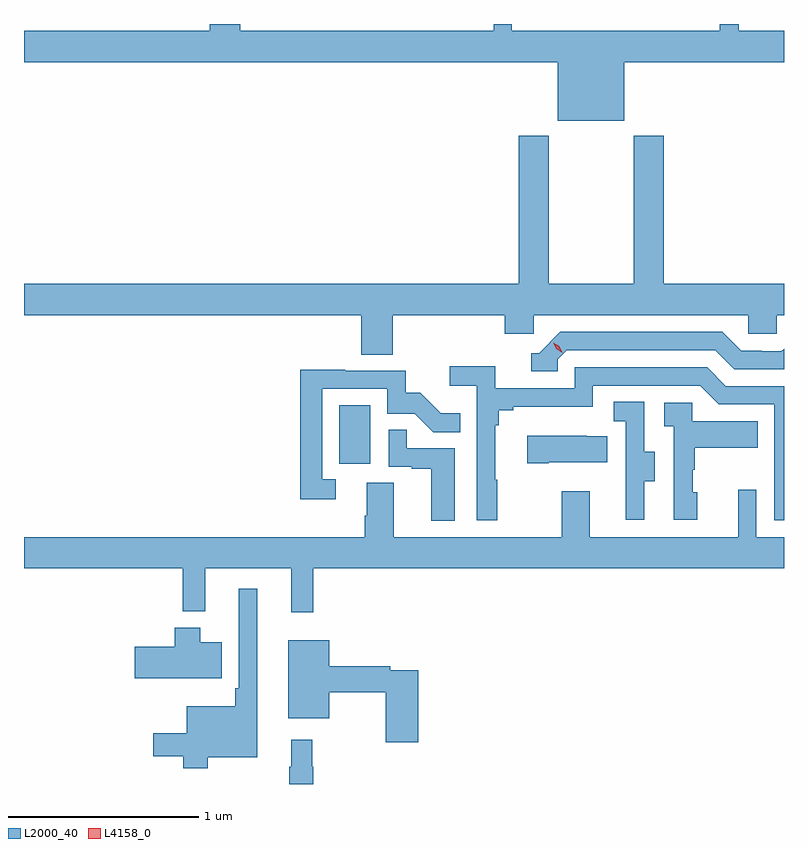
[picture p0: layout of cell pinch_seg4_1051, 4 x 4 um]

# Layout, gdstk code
import gdstk
lib = gdstk.Library(unit=1e-6, precision=1e-09)
def R(c, l, rs):  # rectangles x0, y0, x1, y1
    for r in rs: c.add(gdstk.rectangle(r[:2], r[2:], *l))
def P(c, l, *ps):  # polygons
    for p in ps: c.add(gdstk.Polygon(p, *l))
L2000_40 = (2000, 40)
L4158_0 = (4158, 0)

pinch_seg4_1051 = lib.new_cell('pinch_seg4_1051')
R(pinch_seg4_1051, L2000_40, [(832.43,750.75,832.594,751.057)])
P(pinch_seg4_1051, L2000_40, [(833.932,752.864),(834.772,752.864),(834.772,753.028),(834.533,753.028),(834.533,753.064),(834.435,753.064),(834.435,753.028),(833.34,753.028),(833.34,753.064),(833.244,753.064),(833.244,753.028),(831.909,753.028),(831.909,753.064),(831.749,753.064),(831.749,753.028),(830.772,753.028),(830.772,752.864),(833.582,752.864),(833.582,752.555),(833.932,752.555)],
  [(834.585,751.434),(834.735,751.434),(834.735,751.532),(834.772,751.532),(834.772,751.696),(834.14,751.696),(834.14,752.476),(833.98,752.476),(833.98,751.696),(833.535,751.696),(833.535,752.476),(833.375,752.476),(833.375,751.696),(830.772,751.696),(830.772,751.532),(832.547,751.532),(832.547,751.324),(832.712,751.324),(832.712,751.532),(833.303,751.532),(833.303,751.434),(833.454,751.434),(833.454,751.532),(834.585,751.532)],
  [(833.58,751.299),(833.628,751.347),(834.411,751.347),(834.51,751.248),(834.772,751.248),(834.772,751.356),(834.757,751.341),(834.654,751.341),(834.654,751.344),(834.547,751.344),(834.448,751.443),(833.595,751.443),(833.484,751.332),(833.441,751.332),(833.441,751.236),(833.58,751.236)],
  [(833.263,750.665),(833.251,750.665),(833.251,750.953),(833.27,750.953),(833.27,751.03),(833.347,751.03),(833.347,751.049),(833.766,751.049),(833.766,751.161),(834.33,751.161),(834.429,751.062),(834.72,751.062),(834.72,750.453),(834.772,750.453),(834.772,751.158),(834.466,751.158),(834.367,751.257),(833.67,751.257),(833.67,751.146),(833.252,751.146),(833.252,751.262),(833.013,751.262),(833.013,751.16),(833.154,751.16),(833.154,750.453),(833.263,750.453)],
  [(832.414,750.669),(832.341,750.669),(832.341,751.143),(832.683,751.143),(832.683,751.014),(832.828,751.014),(832.926,750.916),(833.069,750.916),(833.069,751.015),(832.965,751.015),(832.858,751.122),(832.782,751.122),(832.782,751.239),(832.463,751.239),(832.463,751.244),(832.225,751.244),(832.225,750.564),(832.414,750.564)],
  [(834.037,750.658),(834.091,750.658),(834.091,750.813),(834.036,750.813),(834.036,751.076),(833.877,751.076),(833.877,750.973),(833.94,750.973),(833.94,750.669),(833.939,750.669),(833.939,750.456),(834.037,750.456)],
  [(834.316,750.6),(834.291,750.6),(834.291,750.719),(834.301,750.719),(834.301,750.833),(834.635,750.833),(834.635,750.973),(834.288,750.973),(834.288,751.071),(834.141,751.071),(834.141,750.947),(834.192,750.947),(834.192,750.456),(834.316,750.456)],
  [(833.038,750.831),(832.787,750.831),(832.787,750.929),(832.692,750.929),(832.692,750.735),(832.813,750.735),(832.813,750.723),(832.916,750.723),(832.916,750.449),(833.038,750.449)],
  [(833.533,750.758),(833.843,750.758),(833.843,750.895),(833.735,750.895),(833.735,750.898),(833.421,750.898),(833.421,750.751),(833.533,750.751)],
  [(832.295,750.2),(834.772,750.2),(834.772,750.364),(834.627,750.364),(834.627,750.613),(834.53,750.613),(834.53,750.364),(833.749,750.364),(833.749,750.604),(833.602,750.604),(833.602,750.364),(832.717,750.364),(832.717,750.65),(832.577,750.65),(832.577,750.476),(832.565,750.476),(832.565,750.364),(830.772,750.364),(830.772,750.2),(831.607,750.2),(831.607,749.972),(831.725,749.972),(831.725,750.2),(832.178,750.2),(832.178,749.967),(832.295,749.967)],
  [(831.739,749.204),(832,749.204),(832,750.091),(831.903,750.091),(831.903,749.569),(831.883,749.569),(831.883,749.473),(831.629,749.473),(831.629,749.332),(831.453,749.332),(831.453,749.21),(831.61,749.21),(831.61,749.147),(831.739,749.147)],
  [(831.814,749.809),(831.7,749.809),(831.7,749.887),(831.566,749.887),(831.566,749.787),(831.354,749.787),(831.354,749.621),(831.814,749.621)],
  [(832.847,749.664),(832.7,749.664),(832.7,749.684),(832.378,749.684),(832.378,749.821),(832.163,749.821),(832.163,749.411),(832.378,749.411),(832.378,749.548),(832.676,749.548),(832.676,749.283),(832.847,749.283)],
  [(832.295,749.156),(832.288,749.156),(832.288,749.296),(832.178,749.296),(832.178,749.156),(832.167,749.156),(832.167,749.064),(832.295,749.064)])
P(pinch_seg4_1051, L4158_0, [(833.604,751.334),(833.574,751.354),(833.558,751.386),(833.558,751.387),(833.558,751.387),(833.589,751.367),(833.604,751.334),(833.604,751.334)])

lib.write_gds('pinch_seg4_1051.gds')
